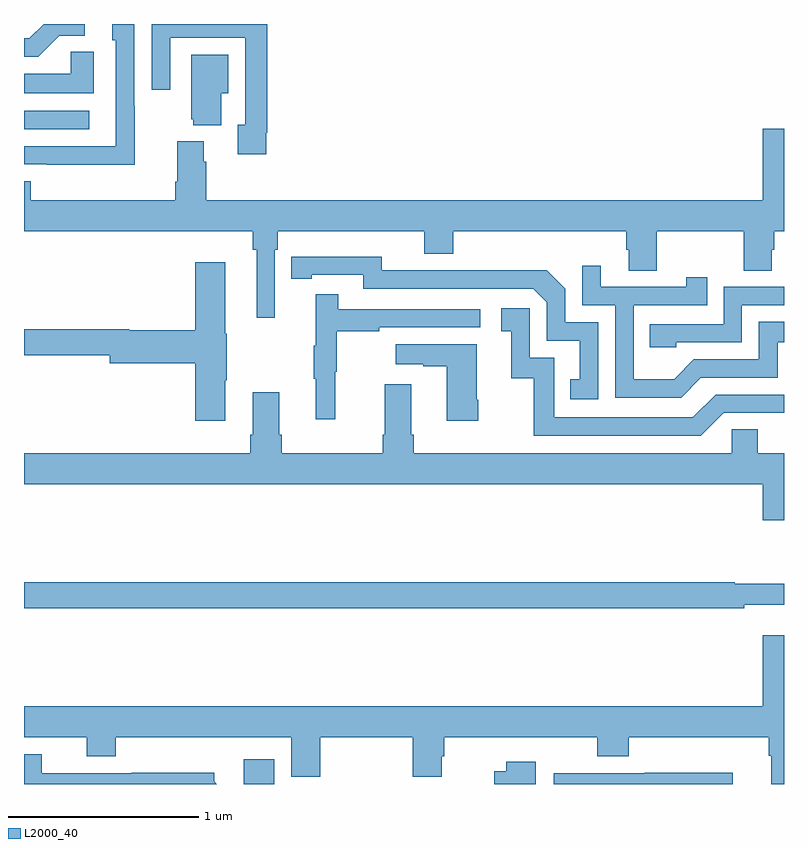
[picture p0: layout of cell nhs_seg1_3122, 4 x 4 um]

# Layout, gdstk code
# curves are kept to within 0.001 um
import gdstk
lib = gdstk.Library(unit=1e-6, precision=1e-09)
def R(c, l, rs):  # rectangles x0, y0, x1, y1
    for r in rs: c.add(gdstk.rectangle(r[:2], r[2:], *l))
def P(c, l, *ps):  # polygons
    for p in ps: c.add(gdstk.Polygon(p, *l))
L2000_40 = (2000, 40)

nhs_seg1_3122 = lib.new_cell('nhs_seg1_3122')
R(nhs_seg1_3122, L2000_40, [(282.157,506.199,282.318,506.329), (281,509.646,281.344,509.742)])
P(nhs_seg1_3122, L2000_40, [(281.583,509.765),(281.58,509.765),(281.58,510.199),(281.465,510.199),(281.465,510.114),(281.484,510.114),(281.484,509.556),(281,509.556),(281,509.46),(281.119,509.46),(281.119,509.459),(281.583,509.459)],
  [(281.185,510.138),(281.32,510.138),(281.32,510.199),(281.104,510.199),(281.028,510.123),(281,510.123),(281,510.027),(281.074,510.027)],
  [(282.274,509.626),(282.281,509.626),(282.281,510.199),(281.673,510.199),(281.673,509.853),(281.769,509.853),(281.769,510.126),(282.165,510.126),(282.165,509.67),(282.125,509.67),(282.125,509.514),(282.274,509.514)],
  [(281.368,510.053),(281.247,510.053),(281.247,509.938),(281,509.938),(281,509.834),(281.368,509.834)],
  [(282.037,509.834),(282.076,509.834),(282.076,510.037),(281.879,510.037),(281.879,509.697),(281.891,509.697),(281.891,509.666),(282.037,509.666)],
  [(282.321,509.012),(282.335,509.012),(282.335,509.108),(283.106,509.108),(283.106,508.991),(283.259,508.991),(283.259,509.108),(284.171,509.108),(284.171,509.01),(284.183,509.01),(284.183,508.9),(284.331,508.9),(284.331,509.108),(284.788,509.108),(284.788,508.9),(284.935,508.9),(284.935,509.01),(284.948,509.01),(284.948,509.108),(285,509.108),(285,509.647),(284.888,509.647),(284.888,509.272),(281.96,509.272),(281.96,509.474),(281.947,509.474),(281.947,509.581),(281.807,509.581),(281.807,509.368),(281.795,509.368),(281.795,509.272),(281.036,509.272),(281.036,509.371),(281,509.371),(281,509.108),(282.205,509.108),(282.205,509.012),(282.224,509.012),(282.224,508.653),(282.321,508.653)],
  [(284.022,508.629),(283.848,508.629),(283.848,508.806),(283.75,508.904),(283.342,508.904),(283.342,508.902),(282.882,508.902),(282.882,508.975),(282.406,508.974),(282.406,508.858),(282.514,508.858),(282.514,508.878),(282.786,508.878),(282.786,508.806),(283.68,508.806),(283.752,508.734),(283.752,508.533),(283.925,508.533),(283.925,508.329),(283.876,508.329),(283.876,508.224),(284.022,508.224)],
  [(282.058,508.325),(282.066,508.325),(282.066,508.569),(282.058,508.569),(282.058,508.945),(281.9,508.945),(281.9,508.586),(281.554,508.586),(281.554,508.592),(281,508.592),(281,508.456),(281.45,508.456),(281.45,508.414),(281.9,508.414),(281.9,508.11),(282.058,508.11)],
  [(284.563,508.338),(284.967,508.338),(284.967,508.523),(285,508.523),(285,508.633),(284.868,508.633),(284.868,508.434),(284.526,508.434),(284.422,508.33),(284.208,508.33),(284.208,508.719),(284.597,508.719),(284.597,508.867),(284.486,508.867),(284.486,508.815),(284.035,508.815),(284.035,508.927),(283.938,508.927),(283.938,508.719),(284.112,508.719),(284.112,508.233),(284.458,508.233)],
  [(284.433,508.524),(284.778,508.524),(284.778,508.719),(285,508.719),(285,508.815),(284.682,508.815),(284.682,508.62),(284.293,508.62),(284.293,508.497),(284.433,508.497)],
  [(282.638,508.368),(282.646,508.368),(282.646,508.582),(282.869,508.582),(282.869,508.602),(283.402,508.602),(283.402,508.698),(282.653,508.698),(282.653,508.777),(282.536,508.777),(282.536,508.505),(282.525,508.505),(282.525,508.331),(282.536,508.331),(282.536,508.119),(282.638,508.119)],
  [(284.682,508.152),(285,508.152),(285,508.248),(284.64,508.248),(284.52,508.128),(283.791,508.128),(283.791,508.443),(283.662,508.443),(283.662,508.702),(283.512,508.702),(283.512,508.581),(283.565,508.581),(283.565,508.335),(283.683,508.335),(283.683,508.032),(284.562,508.032)],
  [(283.392,508.222),(283.384,508.222),(283.384,508.513),(282.957,508.513),(282.957,508.409),(283.1,508.409),(283.1,508.399),(283.226,508.399),(283.226,508.11),(283.392,508.11)],
  [(285,507.94),(284.863,507.94),(284.863,508.067),(284.724,508.067),(284.724,507.94),(283.052,507.94),(283.052,508.036),(283.039,508.036),(283.039,508.303),(282.899,508.303),(282.899,508.036),(282.887,508.036),(282.887,507.94),(282.356,507.94),(282.356,508.036),(282.343,508.036),(282.343,508.261),(282.203,508.261),(282.203,508.036),(282.191,508.036),(282.191,507.94),(281,507.94),(281,507.776),(284.888,507.776),(284.888,507.588),(285,507.588)],
  [(284.792,507.143),(285,507.143),(285,507.253),(284.741,507.253),(284.741,507.26),(281,507.26),(281,507.124),(284.792,507.124)],
  [(281,506.444),(281.33,506.444),(281.33,506.345),(281.483,506.345),(281.483,506.444),(282.407,506.444),(282.407,506.236),(282.56,506.236),(282.56,506.444),(283.046,506.444),(283.046,506.236),(283.198,506.236),(283.198,506.346),(283.211,506.346),(283.211,506.444),(284.018,506.444),(284.018,506.345),(284.183,506.345),(284.183,506.444),(284.921,506.444),(284.921,506.348),(284.933,506.348),(284.933,506.199),(285,506.199),(285,506.983),(284.888,506.983),(284.888,506.608),(281,506.608)],
  [(282,506.213),(282,506.258),(281.566,506.258),(281.566,506.256),(281.094,506.256),(281.094,506.355),(281,506.355),(281,506.199),(282.014,506.199)],
  [(283.693,506.317),(283.537,506.317),(283.537,506.265),(283.474,506.265),(283.474,506.199),(283.693,506.199)],
  [(284.729,506.258),(284.266,506.258),(284.266,506.256),(283.788,506.256),(283.788,506.199),(284.729,506.199)])

lib.write_gds('nhs_seg1_3122.gds')
